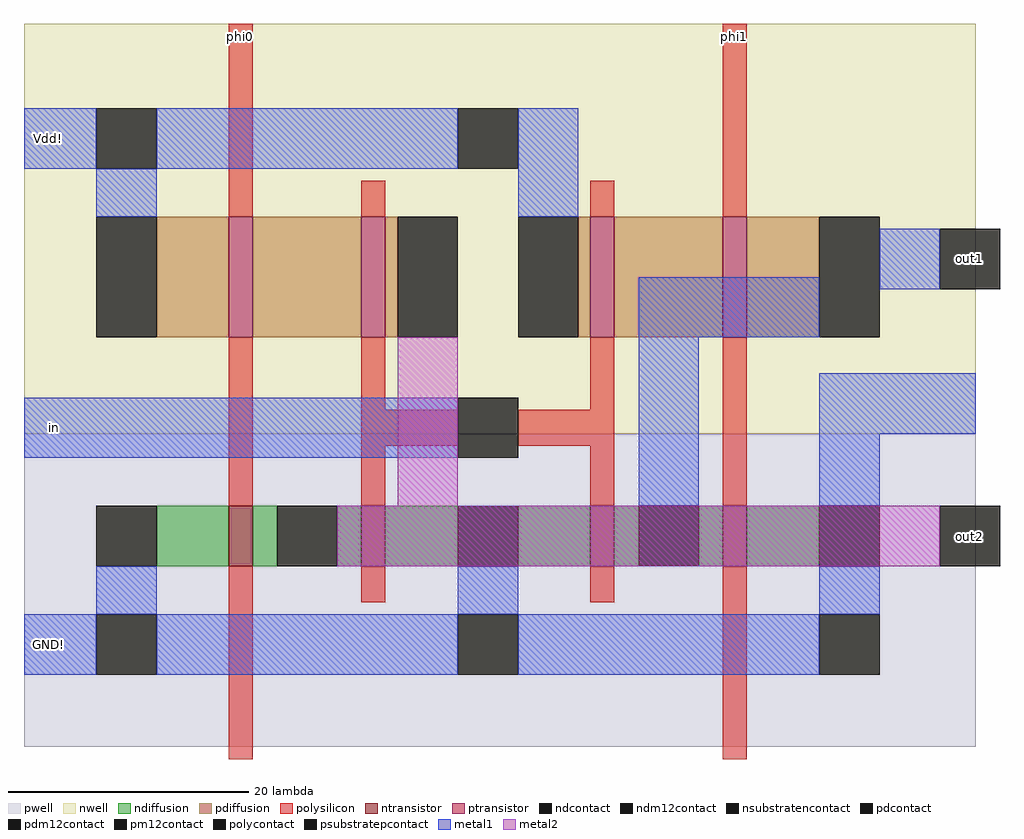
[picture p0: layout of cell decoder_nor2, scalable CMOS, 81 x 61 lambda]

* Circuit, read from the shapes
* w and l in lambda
.subckt decoder_nor2 GND! Vdd! in out1 out2 phi0 phi1
M1 out2 phi0 GND! GND! nfet w=5 l=2
M2 GND! in out2 GND! nfet w=5 l=2
M3 out1 in GND! GND! nfet w=5 l=2
M4 GND! phi1 out1 GND! nfet w=5 l=2
M5 n1 phi0 Vdd! Vdd! pfet w=10 l=2
M6 out2 in n1 Vdd! pfet w=10 l=2
M7 n2 in Vdd! Vdd! pfet w=10 l=2
M8 out1 phi1 n2 Vdd! pfet w=10 l=2
.ends

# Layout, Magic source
magic
tech scmos
<< nwell >>
rect 68 51 147 85
<< pwell >>
rect 68 25 147 51
<< ntransistor >>
rect 85 40 87 45
rect 96 40 98 45
rect 115 40 117 45
rect 126 40 128 45
<< ptransistor >>
rect 85 59 87 69
rect 96 59 98 69
rect 115 59 117 69
rect 126 59 128 69
<< ndiffusion >>
rect 79 40 85 45
rect 87 40 89 45
rect 94 40 96 45
rect 98 40 104 45
rect 109 40 115 45
rect 117 40 119 45
rect 124 40 126 45
rect 128 40 134 45
<< pdiffusion >>
rect 79 59 85 69
rect 87 59 96 69
rect 98 59 99 69
rect 114 59 115 69
rect 117 59 126 69
rect 128 59 134 69
<< ndcontact >>
rect 74 40 79 45
rect 104 40 109 45
rect 119 40 124 45
rect 134 40 139 45
<< pdcontact >>
rect 74 59 79 69
rect 109 59 114 69
rect 134 59 139 69
<< psubstratepcontact >>
rect 74 31 79 36
rect 104 31 109 36
rect 134 31 139 36
<< nsubstratencontact >>
rect 74 73 79 78
rect 104 73 109 78
<< polysilicon >>
rect 85 69 87 85
rect 96 69 98 72
rect 115 69 117 72
rect 126 69 128 85
rect 85 45 87 59
rect 96 53 98 59
rect 96 50 104 53
rect 96 45 98 50
rect 115 53 117 59
rect 109 50 117 53
rect 115 45 117 50
rect 126 45 128 59
rect 85 24 87 40
rect 96 37 98 40
rect 115 37 117 40
rect 126 24 128 40
<< polycontact >>
rect 144 63 149 68
rect 104 49 109 54
<< metal1 >>
rect 68 73 74 78
rect 79 73 104 78
rect 74 69 79 73
rect 109 69 114 78
rect 119 59 134 64
rect 139 63 144 68
rect 68 49 104 54
rect 119 45 124 59
rect 134 51 147 56
rect 134 45 139 51
rect 74 36 79 40
rect 104 36 109 40
rect 134 36 139 40
rect 68 31 74 36
rect 79 31 104 36
rect 109 31 134 36
<< pm12contact >>
rect 144 40 149 45
<< pdm12contact >>
rect 99 59 104 69
<< ndm12contact >>
rect 89 40 94 45
<< metal2 >>
rect 99 45 104 59
rect 94 40 144 45
<< labels >>
rlabel polysilicon 85 83 87 85 5 phi0
rlabel polysilicon 126 83 128 85 5 phi1
rlabel metal1 68 73 72 78 3 Vdd!
rlabel metal1 68 31 72 36 3 GND!
rlabel metal1 68 49 73 54 3 in
rlabel polycontact 144 63 149 68 7 out1
rlabel pm12contact 144 40 149 45 7 out2
<< end >>
